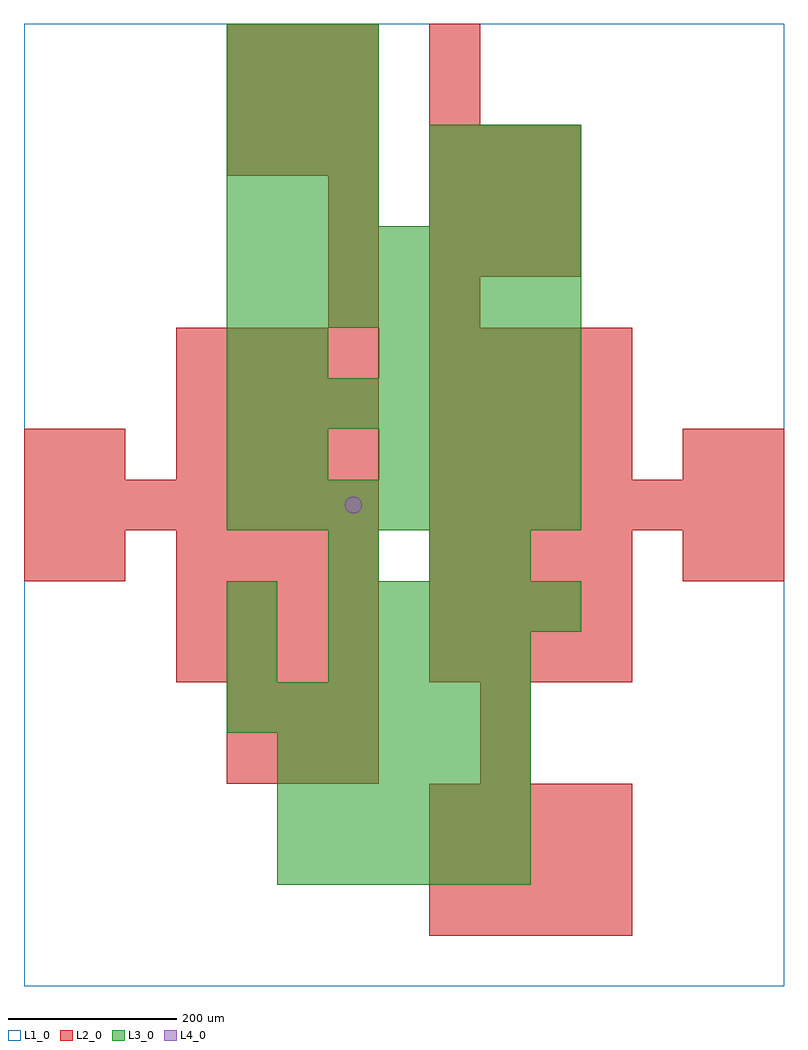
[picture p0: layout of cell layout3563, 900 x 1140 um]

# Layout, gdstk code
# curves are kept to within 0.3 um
import gdstk
lib = gdstk.Library(unit=1e-6, precision=1e-09)
def R(c, l, rs):  # rectangles x0, y0, x1, y1
    for r in rs: c.add(gdstk.rectangle(r[:2], r[2:], *l))
def A(c, l, x, y, w, h, nx, ny, dx, dy):  # array of equal rectangles
    R(c, l, [(x+i*dx, y+j*dy, x+i*dx+w, y+j*dy+h) for i in range(nx) for j in range(ny)])
def P(c, l, *ps):  # polygons
    for p in ps: c.add(gdstk.Polygon(p, *l))
L1_0 = (1, 0)
L2_0 = (2, 0)
L3_0 = (3, 0)
L4_0 = (4, 0)

layout3563 = lib.new_cell('layout3563')
R(layout3563, L1_0, [(0,0,900,1140)])
A(layout3563, L2_0, 480, 60, 60, 60, 4, 3, 60, 60)
A(layout3563, L2_0, 240, 240, 60, 60, 3, 2, 60, 60)
A(layout3563, L2_0, 180, 360, 60, 60, 4, 3, 60, 60)
A(layout3563, L2_0, 480, 360, 60, 60, 4, 3, 60, 60)
A(layout3563, L2_0, 0, 540, 60, 60, 7, 1, 60, 0)
A(layout3563, L2_0, 480, 540, 60, 60, 7, 1, 60, 0)
A(layout3563, L2_0, 180, 600, 60, 60, 4, 3, 60, 60)
A(layout3563, L2_0, 480, 600, 60, 60, 4, 3, 60, 60)
A(layout3563, L2_0, 360, 780, 60, 60, 1, 3, 0, 60)
A(layout3563, L2_0, 480, 840, 60, 60, 3, 3, 60, 60)
A(layout3563, L2_0, 240, 960, 60, 60, 3, 3, 60, 60)
R(layout3563, L2_0, [(540,240,600,300), (540,300,600,360), (0,480,60,540), (60,480,120,540), (780,480,840,540), (840,480,900,540), (0,600,60,660), (60,600,120,660), (780,600,840,660), (840,600,900,660), (480,780,540,840), (480,1020,540,1080), (480,1080,540,1140)])
A(layout3563, L3_0, 300, 120, 60, 60, 5, 3, 60, 60)
A(layout3563, L3_0, 240, 300, 60, 60, 6, 1, 60, 0)
A(layout3563, L3_0, 360, 360, 60, 60, 4, 1, 60, 0)
A(layout3563, L3_0, 360, 420, 60, 60, 5, 1, 60, 0)
A(layout3563, L3_0, 240, 540, 60, 60, 7, 3, 60, 120)
A(layout3563, L3_0, 420, 600, 60, 60, 4, 2, 60, 120)
A(layout3563, L3_0, 240, 840, 60, 60, 7, 1, 60, 0)
A(layout3563, L3_0, 240, 900, 60, 60, 3, 4, 60, 60)
A(layout3563, L3_0, 480, 900, 60, 60, 3, 2, 60, 60)
R(layout3563, L3_0, [(240,360,300,420), (240,420,300,480), (360,480,420,540), (480,480,540,540), (540,480,600,540), (240,600,300,660), (300,600,360,660), (240,720,300,780), (300,720,360,780)])
P(layout3563, L4_0, [(400,570),(399.239,573.827),(397.071,577.071),(393.827,579.239),(390,580),(386.173,579.239),(382.929,577.071),(380.761,573.827),(380,570),(380.761,566.173),(382.929,562.929),(386.173,560.761),(390,560),(393.827,560.761),(397.071,562.929),(399.239,566.173)])

lib.write_gds('layout3563.gds')
